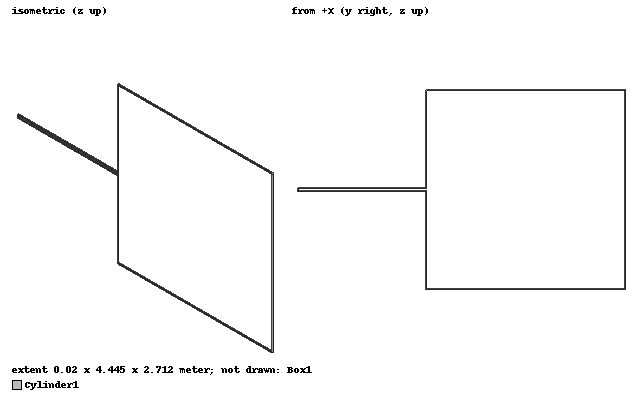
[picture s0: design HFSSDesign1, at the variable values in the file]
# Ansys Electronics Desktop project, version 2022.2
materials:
  vacuum: permittivity=1
  pec: conductivity=1e+30
  air: permittivity=1.0006 permeability=1.0000004

design HFSSDesign1 (HFSS, DrivenModal, model units meter)
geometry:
  Cylinder1 [pec] = cylinder(axis=Z, base_centre=(0meter, 0meter, 0.02meter), radius=0.01meter, height=1.326meter)
  Cylinder2 = cylinder(axis=Z, base_centre=(0meter, 0meter, -0.02meter), radius=0.01meter, height=-1.326meter)
  Cylinder3 = cylinder(axis=Z, base_centre=(0meter, 2.692meter, -1.346meter), radius=0.01meter, height=2.692meter)
  Cylinder4 = cylinder(axis=Y, base_centre=(0meter, 0meter, 1.346meter), radius=0.01meter, height=2.692meter)
  Cylinder5 = cylinder(axis=Y, base_centre=(0meter, 0meter, -1.346meter), radius=0.01meter, height=2.692meter)
  Cylinder6 = cylinder(axis=Y, base_centre=(0meter, 0meter, -0.02meter), radius=0.01meter, height=-1.743meter)
  Cylinder7 = cylinder(axis=Y, base_centre=(0meter, 0meter, 0.02meter), radius=0.01meter, height=-1.743meter)
  Sphere1 = sphere(centre=(0meter, 0meter, 1.346meter), radius=0.01meter)
  Sphere2 = sphere(centre=(0meter, 2.692meter, 1.346meter), radius=0.01meter)
  Sphere3 = sphere(centre=(0meter, 0meter, -1.346meter), radius=0.01meter)
  Sphere4 = sphere(centre=(0meter, 2.692meter, -1.346meter), radius=0.01meter)
  Sphere5 = sphere(centre=(0meter, 0meter, -0.02meter), radius=0.01meter)
  Sphere6 = sphere(centre=(0meter, 0meter, 0.02meter), radius=0.01meter)
  Rectangle1 [pec] = rectangle(corner=(0meter, -1.743meter, 0.01meter), y_size=0.02meter, z_size=-0.02meter)
  Cylinder1.unite(Cylinder2..Cylinder7, Sphere1..Sphere6)
  Box1 [air] = box(corner=(-3meter, -3meter, -4.5meter), size=(6meter, 9meter, 9meter))
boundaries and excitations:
  Rad1: Radiation Objects=Box1
  1: Lumped Port Objects=Rectangle1 Modes{Mode1{IntLine{(0, -1.733, -0.01) -> (0, -1.733, 0.01)} CharImp=Zpi RenormImp=50ohm}} Impedance=50ohm
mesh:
  initial mesh: GlobalSurfApproximation{CurvedSurfaceApproxChoice=UseSlider SliderMeshSettings=1}
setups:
  Setup1: HfssDriven Frequency=28MHz MaxDeltaS=0.02 MaximumPasses=10 MinimumPasses=1 MinimumConvergedPasses=1 PercentRefinement=30 BasisOrder=1 PortAccuracy=2 DrivenSolverType="Direct Solver"
    sweep Sweep: 1MHz to 40MHz step 0.1MHz; Type=Fast SaveFields
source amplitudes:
  1:1: 1W 0deg
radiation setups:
  Infinite Sphere1: Infinite Sphere Theta=0deg..180deg step 10deg Phi=0deg..360deg step 10deg
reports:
  S Parameter Plot 1: dB(S(1,1)) vs Freq on Setup1 : Sweep
  S Parameter Plot 2: dB(S(1,1)) vs Freq on Setup1 : Sweep
  Gain Plot 1: dB(GainTotal) vs Phi, Theta on Setup1 : LastAdaptive, Infinite Sphere1 [Freq=0.028GHz]
  Gain Plot 2: dB(GainTotal) vs Phi, Theta on Setup1 : LastAdaptive, Infinite Sphere1 [Freq=0.028GHz]
  S Parameter Plot 3: dB(S(1,1)) vs Freq on Setup1 : Sweep
  S Parameter Plot 4: dB(S(1,1)) vs Freq on Setup1 : Sweep
  Gain Plot 3: dB(GainTotal) vs Phi, Theta on Setup1 : LastAdaptive, Infinite Sphere1 [Freq=0.028GHz]
  S Parameter Plot 5: dB(S(1,1)) vs Freq on Setup1 : Sweep
  Gain Plot 4: GainTotal vs Phi, Theta on Setup1 : LastAdaptive, Infinite Sphere1 [Freq=0.028GHz]
